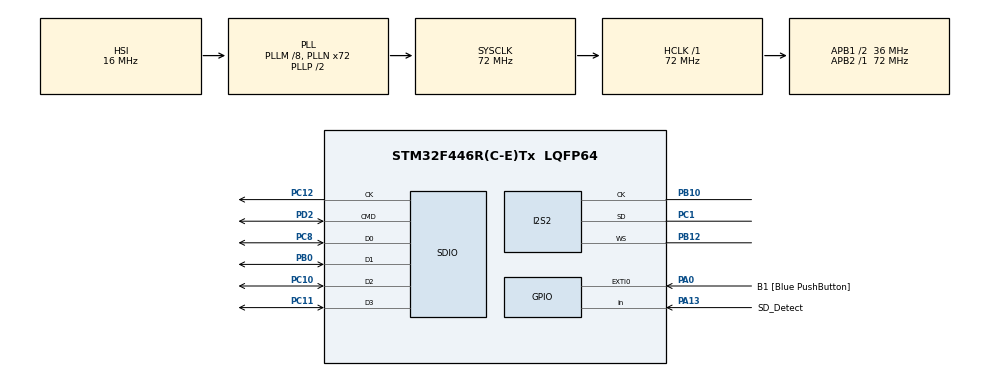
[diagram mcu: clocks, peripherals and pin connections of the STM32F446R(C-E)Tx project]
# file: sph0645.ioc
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Dma.Request0=SPI2_RX
Dma.SPI2_RX.0.Direction=DMA_PERIPH_TO_MEMORY
Dma.SPI2_RX.0.FIFOMode=DMA_FIFOMODE_DISABLE
Dma.SPI2_RX.0.Instance=DMA1_Stream3
Dma.SPI2_RX.0.MemDataAlignment=DMA_MDATAALIGN_HALFWORD
Dma.SPI2_RX.0.MemInc=DMA_MINC_ENABLE
Dma.SPI2_RX.0.Mode=DMA_CIRCULAR
Dma.SPI2_RX.0.PeriphDataAlignment=DMA_PDATAALIGN_HALFWORD
Dma.SPI2_RX.0.PeriphInc=DMA_PINC_DISABLE
Dma.SPI2_RX.0.Priority=DMA_PRIORITY_LOW
FATFS.BSP.number=1
FATFS0.BSP.STBoard=false
FATFS0.BSP.api=Unknown
FATFS0.BSP.instance=PA13
FATFS0.BSP.ip=GPIO
FATFS0.BSP.mode=Input
FATFS0.BSP.name=Detect_SDIO
FATFS0.BSP.solution=PA13
I2S2.AudioFreq=I2S_AUDIOFREQ_32K
I2S2.DataFormat=I2S_DATAFORMAT_16B_EXTENDED
I2S2.ErrorAudioFreq=1.72 %
I2S2.FullDuplexMode=I2S_FULLDUPLEXMODE_DISABLE
I2S2.Instance=SPI$Index
I2S2.Mode=I2S_MODE_MASTER_RX
I2S2.RealAudioFreq=32.552 KHz
I2S2.VirtualMode=I2S_MODE_MASTER
Mcu.Family=STM32F4
Mcu.Name=STM32F446R(C-E)Tx
Mcu.Package=LQFP64
NVIC.DMA1_Stream3_IRQn=true\:0\:0\:false\:false\:true\:false\:true\:true
NVIC.EXTI0_IRQn=true\:0\:0\:false\:false\:true\:true\:true\:true
NVIC.PriorityGroup=NVIC_PRIORITYGROUP_4
PA0-WKUP.GPIO_Label=B1 [Blue PushButton]
PA0-WKUP.Signal=GPXTI0
PA13.GPIO_Label=SD_Detect
PA13.Signal=GPIO_Input
PB0.Mode=SD_4_bits_Wide_bus
PB0.Signal=SDIO_D1
PB10.Mode=Half_Duplex_Master
PB10.Signal=I2S2_CK
PB12.Mode=Half_Duplex_Master
PB12.Signal=I2S2_WS
PC1.Mode=Half_Duplex_Master
PC1.Signal=I2S2_SD
PC10.Mode=SD_4_bits_Wide_bus
PC10.Signal=SDIO_D2
PC11.Mode=SD_4_bits_Wide_bus
PC11.Signal=SDIO_D3
PC12.Mode=SD_4_bits_Wide_bus
PC12.Signal=SDIO_CK
PC8.Mode=SD_4_bits_Wide_bus
PC8.Signal=SDIO_D0
PD2.Mode=SD_4_bits_Wide_bus
PD2.Signal=SDIO_CMD
ProjectManager.HeapSize=0x200
ProjectManager.StackSize=0x400
ProjectManager.TargetToolchain=STM32CubeIDE
RCC.AHBFreq_Value=72000000
RCC.APB1CLKDivider=RCC_HCLK_DIV2
RCC.APB1Freq_Value=36000000
RCC.APB1TimFreq_Value=72000000
RCC.APB2Freq_Value=72000000
RCC.APB2TimFreq_Value=72000000
RCC.CortexFreq_Value=72000000
RCC.HCLKFreq_Value=72000000
RCC.PLLI2SM=8
RCC.PLLI2SN=50
RCC.PLLM=8
RCC.PLLN=72
RCC.PLLQ=3
RCC.SYSCLKFreq_VALUE=72000000
RCC.SYSCLKSource=RCC_SYSCLKSOURCE_PLLCLK
RCC.USBFreq_Value=48000000
RCC.VCOOutputFreq_Value=144000000
SDIO.ClockDiv=8
VP_FATFS_VS_SDIO.Mode=SDIO
board=custom

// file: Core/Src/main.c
/* USER CODE BEGIN Header */
/**
  ******************************************************************************
  * @file           : main.c
  * @brief          : Main program body
  ******************************************************************************
  * @attention
  *
  * Copyright (c) 2024 STMicroelectronics.
  * All rights reserved.
  *
  * This software is licensed under terms that can be found in the LICENSE file
  * in the root directory of this software component.
  * If no LICENSE file comes with this software, it is provided AS-IS.
  *
  ******************************************************************************
  */
/* USER CODE END Header */
#include "main.h"
#include "fatfs.h"

/* USER CODE BEGIN Includes */
#include <stdio.h>
#include "sd.h"
/* USER CODE END Includes */

I2S_HandleTypeDef hi2s2;
DMA_HandleTypeDef hdma_spi2_rx;

SD_HandleTypeDef hsd;

/* USER CODE BEGIN PV */
int16_t data_i2s[WAV_WRITE_SAMPLE_COUNT];
volatile int16_t sample_i2s;
volatile uint8_t button_flag, start_stop_recording;
volatile uint8_t  half_i2s, full_i2s;
/* USER CODE END PV */

void SystemClock_Config(void);
static void MX_GPIO_Init(void);
static void MX_DMA_Init(void);
static void MX_I2S2_Init(void);
static void MX_SDIO_SD_Init(void);

int main(void)
{

  /* MCU Configuration--------------------------------------------------------*/

  /* Reset of all peripherals, Initializes the Flash interface and the Systick. */
  HAL_Init();

  /* Configure the system clock */
  SystemClock_Config();

  /* Initialize all configured peripherals */
  MX_GPIO_Init();
  MX_DMA_Init();
  MX_I2S2_Init();
  MX_SDIO_SD_Init();
  MX_FATFS_Init();
  /* USER CODE BEGIN 2 */
  HAL_I2S_DMAStop(&hi2s2);
  HAL_I2S_Receive_DMA(&hi2s2, (uint16_t *)data_i2s, sizeof(data_i2s)/2);
  HAL_Delay(500);
  //sd_card_init();
  /* USER CODE END 2 */

  /* Infinite loop */
  /* USER CODE BEGIN WHILE */
  while (1)
  {
	  //printf("Hello World\n");
	  //HAL_Delay(1000);
	  if (button_flag)
	  {
		  if (start_stop_recording)
		  {
			  HAL_I2S_DMAStop(&hi2s2);
			  start_stop_recording = 0;
			  stop_recording();
			  half_i2s = 0;
			  full_i2s = 0;
			  printf("stop recording \n");
		  }
		  else
		  {
			  start_stop_recording = 1;
			  start_recording(I2S_AUDIOFREQ_32K);
			  printf("start_recording %d and %d\n", half_i2s, full_i2s);
			  HAL_I2S_Receive_DMA(&hi2s2, (uint16_t *)data_i2s, sizeof(data_i2s)/2);
		  }
		  button_flag = 0;
	  }
    /* USER CODE END WHILE */

    /* USER CODE BEGIN 3 */
	  if(start_stop_recording == 1 && half_i2s == 1)
	  {
		  write2wave_file(((uint8_t*)data_i2s),	 WAV_WRITE_SAMPLE_COUNT);
		  half_i2s = 0;
	  }
	  if(start_stop_recording == 1 && full_i2s == 1)
	  {
		  write2wave_file(((uint8_t*)data_i2s) + WAV_WRITE_SAMPLE_COUNT, WAV_WRITE_SAMPLE_COUNT);
		  full_i2s = 0;
	  }
  }
  /* USER CODE END 3 */
}

void SystemClock_Config(void)
{
  RCC_OscInitTypeDef RCC_OscInitStruct = {0};
  RCC_ClkInitTypeDef RCC_ClkInitStruct = {0};

  /** Configure the main internal regulator output voltage
  */
  __HAL_RCC_PWR_CLK_ENABLE();
  __HAL_PWR_VOLTAGESCALING_CONFIG(PWR_REGULATOR_VOLTAGE_SCALE3);

  /** Initializes the RCC Oscillators according to the specified parameters
  * in the RCC_OscInitTypeDef structure.
  */
  RCC_OscInitStruct.OscillatorType = RCC_OSCILLATORTYPE_HSI;
  RCC_OscInitStruct.HSIState = RCC_HSI_ON;
  RCC_OscInitStruct.HSICalibrationValue = RCC_HSICALIBRATION_DEFAULT;
  RCC_OscInitStruct.PLL.PLLState = RCC_PLL_ON;
  RCC_OscInitStruct.PLL.PLLSource = RCC_PLLSOURCE_HSI;
  RCC_OscInitStruct.PLL.PLLM = 8;
  RCC_OscInitStruct.PLL.PLLN = 72;
  RCC_OscInitStruct.PLL.PLLP = RCC_PLLP_DIV2;
  RCC_OscInitStruct.PLL.PLLQ = 3;
  RCC_OscInitStruct.PLL.PLLR = 2;
  if (HAL_RCC_OscConfig(&RCC_OscInitStruct) != HAL_OK)
  {
    Error_Handler();
  }

  /** Initializes the CPU, AHB and APB buses clocks
  */
  RCC_ClkInitStruct.ClockType = RCC_CLOCKTYPE_HCLK|RCC_CLOCKTYPE_SYSCLK
                              |RCC_CLOCKTYPE_PCLK1|RCC_CLOCKTYPE_PCLK2;
  RCC_ClkInitStruct.SYSCLKSource = RCC_SYSCLKSOURCE_PLLCLK;
  RCC_ClkInitStruct.AHBCLKDivider = RCC_SYSCLK_DIV1;
  RCC_ClkInitStruct.APB1CLKDivider = RCC_HCLK_DIV2;
  RCC_ClkInitStruct.APB2CLKDivider = RCC_HCLK_DIV1;

  if (HAL_RCC_ClockConfig(&RCC_ClkInitStruct, FLASH_LATENCY_2) != HAL_OK)
  {
    Error_Handler();
  }
}

static void MX_I2S2_Init(void)
{

  hi2s2.Instance = SPI2;
  hi2s2.Init.Mode = I2S_MODE_MASTER_RX;
  hi2s2.Init.Standard = I2S_STANDARD_PHILIPS;
  hi2s2.Init.DataFormat = I2S_DATAFORMAT_16B_EXTENDED;
  hi2s2.Init.MCLKOutput = I2S_MCLKOUTPUT_DISABLE;
  hi2s2.Init.AudioFreq = I2S_AUDIOFREQ_32K;
  hi2s2.Init.CPOL = I2S_CPOL_LOW;
  hi2s2.Init.ClockSource = I2S_CLOCK_PLL;
  hi2s2.Init.FullDuplexMode = I2S_FULLDUPLEXMODE_DISABLE;
  if (HAL_I2S_Init(&hi2s2) != HAL_OK)
  {
    Error_Handler();
  }

}

static void MX_SDIO_SD_Init(void)
{

  hsd.Instance = SDIO;
  hsd.Init.ClockEdge = SDIO_CLOCK_EDGE_RISING;
  hsd.Init.ClockBypass = SDIO_CLOCK_BYPASS_DISABLE;
  hsd.Init.ClockPowerSave = SDIO_CLOCK_POWER_SAVE_DISABLE;
  hsd.Init.BusWide = SDIO_BUS_WIDE_4B;
  hsd.Init.HardwareFlowControl = SDIO_HARDWARE_FLOW_CONTROL_DISABLE;
  hsd.Init.ClockDiv = 8;

}

static void MX_DMA_Init(void)
{

  /* DMA controller clock enable */
  __HAL_RCC_DMA1_CLK_ENABLE();

  /* DMA interrupt init */
  /* DMA1_Stream3_IRQn interrupt configuration */
  HAL_NVIC_SetPriority(DMA1_Stream3_IRQn, 0, 0);
  HAL_NVIC_EnableIRQ(DMA1_Stream3_IRQn);

}

static void MX_GPIO_Init(void)
{
  GPIO_InitTypeDef GPIO_InitStruct = {0};

  /* GPIO Ports Clock Enable */
  __HAL_RCC_GPIOC_CLK_ENABLE();
  __HAL_RCC_GPIOA_CLK_ENABLE();
  __HAL_RCC_GPIOB_CLK_ENABLE();
  __HAL_RCC_GPIOD_CLK_ENABLE();

  /*Configure GPIO pin : B1_Pin */
  GPIO_InitStruct.Pin = B1_Pin;
  GPIO_InitStruct.Mode = GPIO_MODE_IT_RISING;
  GPIO_InitStruct.Pull = GPIO_NOPULL;
  HAL_GPIO_Init(B1_GPIO_Port, &GPIO_InitStruct);

  /*Configure GPIO pin : SD_Detect_Pin */
  GPIO_InitStruct.Pin = SD_Detect_Pin;
  GPIO_InitStruct.Mode = GPIO_MODE_INPUT;
  GPIO_InitStruct.Pull = GPIO_NOPULL;
  HAL_GPIO_Init(SD_Detect_GPIO_Port, &GPIO_InitStruct);

  /* EXTI interrupt init*/
  HAL_NVIC_SetPriority(EXTI0_IRQn, 0, 0);
  HAL_NVIC_EnableIRQ(EXTI0_IRQn);

}

/* USER CODE BEGIN 4 */
int _write(int file, char *ptr, int len)
{
  (void)file;
  int DataIdx;

  for (DataIdx = 0; DataIdx < len; DataIdx++)
  {
    ITM_SendChar(*ptr++);
  }
  return len;
}

void HAL_I2S_RxCpltCallback(I2S_HandleTypeDef *hi2s)
{
	full_i2s = 1;
}

void HAL_I2S_RxHalfCpltCallback(I2S_HandleTypeDef *hi2s)
{
	//sample_i2s = data_i2s[0];
	half_i2s = 1;
}

void HAL_GPIO_EXTI_Callback(uint16_t GPIO_Pin)
{
	if (GPIO_Pin == B1_Pin)
	{
		button_flag = 1;
	}
}
/* USER CODE END 4 */

void Error_Handler(void)
{
  __disable_irq();
  while (1)
  {
  }
}
